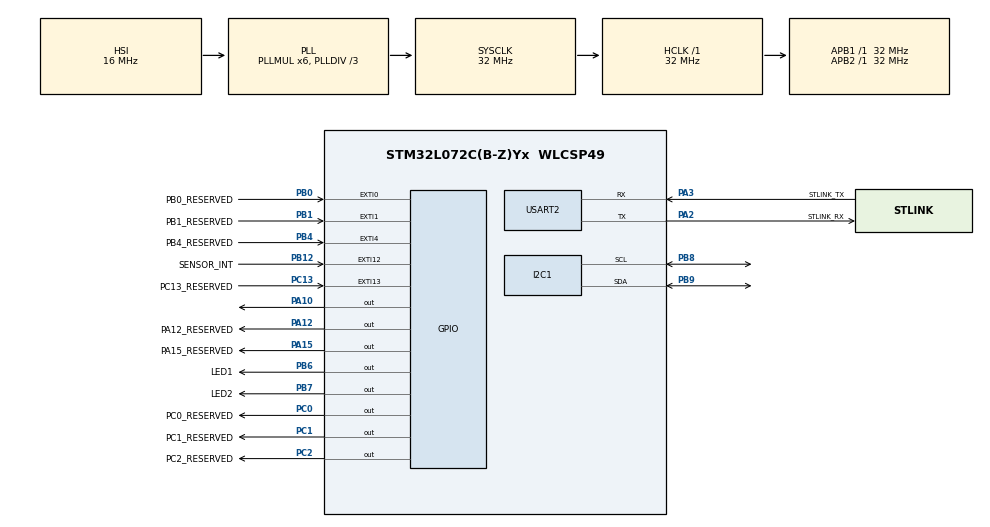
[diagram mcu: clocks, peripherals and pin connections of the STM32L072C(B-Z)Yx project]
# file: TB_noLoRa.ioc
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I2C1.Timing=0x00707CBB
Mcu.Family=STM32L0
Mcu.Name=STM32L072C(B-Z)Yx
Mcu.Package=WLCSP49
NVIC.EXTI0_1_IRQn=true\:0\:0\:false\:false\:true\:true\:true\:true
NVIC.EXTI4_15_IRQn=true\:0\:0\:false\:false\:true\:true\:true\:true
NVIC.TIM6_DAC_IRQn=true\:0\:0\:false\:false\:true\:true\:true\:true
PA10.Signal=GPIO_Output
PA12.GPIO_Label=PA12_RESERVED
PA12.GPIO_Speed=GPIO_SPEED_FREQ_HIGH
PA12.Signal=GPIO_Output
PA15.GPIO_Label=PA15_RESERVED
PA15.GPIO_Speed=GPIO_SPEED_FREQ_HIGH
PA15.Signal=GPIO_Output
PA2.GPIO_Label=STLINK_RX
PA2.Mode=Asynchronous
PA2.Signal=USART2_TX
PA3.GPIO_Label=STLINK_TX
PA3.Mode=Asynchronous
PA3.Signal=USART2_RX
PA6.GPIO_Label=PA6_RESERVED
PA6.Signal=SPI1_MISO
PA7.GPIO_Label=PA7_RESERVED
PA7.Signal=SPI1_MOSI
PB0.GPIO_Label=PB0_RESERVED
PB0.Signal=GPXTI0
PB1.GPIO_Label=PB1_RESERVED
PB1.Signal=GPXTI1
PB12.GPIO_Label=SENSOR_INT
PB12.Signal=GPXTI12
PB3.GPIO_Label=PB3_RESERVED
PB3.Signal=SPI1_SCK
PB4.GPIO_Label=PB4_RESERVED
PB4.Signal=GPXTI4
PB6.GPIO_Label=LED1
PB6.Signal=GPIO_Output
PB7.GPIO_Label=LED2
PB7.Signal=GPIO_Output
PB8.GPIO_Pu=GPIO_PULLUP
PB8.Mode=I2C
PB8.Signal=I2C1_SCL
PB9.GPIO_Pu=GPIO_PULLUP
PB9.Mode=I2C
PB9.Signal=I2C1_SDA
PC0.GPIO_Label=PC0_RESERVED
PC0.GPIO_Speed=GPIO_SPEED_FREQ_HIGH
PC0.Signal=GPIO_Output
PC1.GPIO_Label=PC1_RESERVED
PC1.GPIO_Speed=GPIO_SPEED_FREQ_HIGH
PC1.Signal=GPIO_Output
PC13.GPIO_Label=PC13_RESERVED
PC13.Signal=GPXTI13
PC2.GPIO_Label=PC2_RESERVED
PC2.GPIO_Speed=GPIO_SPEED_FREQ_HIGH
PC2.Signal=GPIO_Output
PH0-OSC_IN.Signal=RCC_OSC_IN
PH1-OSC_OUT.Signal=RCC_OSC_OUT
ProjectManager.HeapSize=0x200
ProjectManager.StackSize=0x400
ProjectManager.TargetToolchain=STM32CubeIDE
RCC.AHBFreq_Value=32000000
RCC.APB1Freq_Value=32000000
RCC.APB1TimFreq_Value=32000000
RCC.APB2Freq_Value=32000000
RCC.APB2TimFreq_Value=32000000
RCC.HCLKFreq_Value=32000000
RCC.HSE_VALUE=8000000
RCC.HSI16_VALUE=16000000
RCC.HSI48_VALUE=48000000
RCC.HSI_VALUE=16000000
RCC.LSE_VALUE=32768
RCC.MSI_VALUE=2097000
RCC.PLLDIV=RCC_PLLDIV_3
RCC.PLLMUL=RCC_PLLMUL_6
RCC.SYSCLKFreq_VALUE=32000000
RCC.SYSCLKSource=RCC_SYSCLKSOURCE_PLLCLK
RCC.VCOOutputFreq_Value=96000000
TIM6.Period=1000
TIM6.Prescaler=32000
USART2.VirtualMode-Asynchronous=VM_ASYNC
VP_TIM6_VS_ClockSourceINT.Mode=Enable_Timer
board=B-L072Z-LRWAN1

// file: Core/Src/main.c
/* USER CODE BEGIN Header */
/**
  ******************************************************************************
  * @file           : main.c
  * @brief          : Main program body
  ******************************************************************************
  * @attention
  *
  * Copyright (c) 2023 STMicroelectronics.
  * All rights reserved.
  *
  * This software is licensed under terms that can be found in the LICENSE file
  * in the root directory of this software component.
  * If no LICENSE file comes with this software, it is provided AS-IS.
  *
  ******************************************************************************
  */
/* USER CODE END Header */
#include "main.h"

/* USER CODE BEGIN Includes */
#include <stdio.h>
#include <math.h>
#include "bma400func.h"
/* USER CODE END Includes */

I2C_HandleTypeDef hi2c1;

TIM_HandleTypeDef htim6;

UART_HandleTypeDef huart2;

/* USER CODE BEGIN PV */
uint16_t secondsOn;
uint8_t waterOn;
/* USER CODE END PV */

void SystemClock_Config(void);
static void MX_GPIO_Init(void);
static void MX_USART2_UART_Init(void);
static void MX_I2C1_Init(void);
static void MX_TIM6_Init(void);

int main(void)
{
  /* USER CODE BEGIN 1 */
	HAL_StatusTypeDef hStat;
	HAL_TIM_StateTypeDef tim6Status;

	uint8_t serialBuf[SER_BUF_SIZE] = {'\0'};
	uint8_t i2cBuf[8]={0};
	uint8_t i2cBufRet[FIFO_SIZE]={0};
	int16_t rawVal[3]={0};
	int16_t myVal[F_SAMP] = {0};
	int16_t fifoBytes = 0;
	int16_t nbrOverSize = 0;
	uint16_t timer_val = 0;

	secondsOn = 0;
	waterOn = 0;

	uint16_t currentMemPos = 0;

  /* USER CODE END 1 */

  /* MCU Configuration--------------------------------------------------------*/

  /* Reset of all peripherals, Initializes the Flash interface and the Systick. */
  HAL_Init();

  /* Configure the system clock */
  SystemClock_Config();

  /* Initialize all configured peripherals */
  MX_GPIO_Init();
  MX_USART2_UART_Init();
  MX_I2C1_Init();
  MX_TIM6_Init();
  /* USER CODE BEGIN 2 */

	sprintf(serialBuf, "Hello Boss   \r\n");
	HAL_UART_Transmit(&huart2, serialBuf, sizeof(serialBuf), HAL_MAX_DELAY);
	HAL_Delay(500);

    //Init sensor
    bma400_InitConfig();
    //HAL_TIM_Base_Start_IT(&htim6);
  /* USER CODE END 2 */

  /* Infinite loop */
  /* USER CODE BEGIN WHILE */
  while (1)
  {
  	  hStat = HAL_I2C_Mem_Read(&hi2c1, ACC_ADDR, REG_FIFO_LENGTH0, 1, i2cBufRet, 1, HAL_MAX_DELAY);
  	  if(hStat != HAL_OK){
  		  strcpy((char*)serialBuf, "Error Rx2    \r\n");
  		  HAL_UART_Transmit(&huart2, serialBuf, sizeof(serialBuf), HAL_MAX_DELAY);
  	  } else {
  		  fifoBytes = i2cBufRet[0];
  	  }
  	  hStat = HAL_I2C_Mem_Read(&hi2c1, ACC_ADDR, REG_FIFO_LENGTH1, 1, i2cBufRet, 1, HAL_MAX_DELAY);
  	  if(hStat != HAL_OK){
  		  strcpy((char*)serialBuf, "Error Rx     \r\n");
  		  HAL_UART_Transmit(&huart2, serialBuf, sizeof(serialBuf), HAL_MAX_DELAY);
  	  } else {
  		  fifoBytes = fifoBytes | i2cBufRet[0]<<8;
  	  }
	  hStat = HAL_I2C_Mem_Read(&hi2c1, ACC_ADDR, REG_FIFO_DATA, 1, i2cBufRet, fifoBytes, HAL_MAX_DELAY);
	  if(hStat != HAL_OK){
		  strcpy((char*)serialBuf, "Error Rx1    \r\n");
		  HAL_UART_Transmit(&huart2, serialBuf, sizeof(serialBuf), HAL_MAX_DELAY);
	  } else {
		  for(uint8_t i = 0; i<(fifoBytes/7); i++){
			  if(currentMemPos >= F_SAMP){
				  currentMemPos = 0;
				  nbrOverSize++;
			  }
			  for(uint8_t j = 0; j<3; j++){
				  rawVal[j] = i2cBufRet[1+i*7+j*2] | i2cBufRet[2+i*7+j*2]<<4;
				  if(i2cBufRet[2+i*7+j*2]>0x80){
					  rawVal[j] = rawVal[j] | 0xF<<12;
				  }
			  }
			  myVal[currentMemPos] = sqrt(pow(rawVal[0],2) + pow(rawVal[1],2) + pow(rawVal[2],2));
			  currentMemPos++;
		  }
		  uint8_t detection_count = 0;
		  tim6Status = HAL_TIM_Base_GetState(&htim6);
		  for(uint16_t i = 0; i < F_SAMP; i++){
			  if(myVal[i] < MIDDLE_VAL + THRESHOLD && myVal[i] > MIDDLE_VAL - THRESHOLD){
				  waterOn = 0;
				  HAL_TIM_Base_Stop_IT(&htim6);
				  timer_val = __HAL_TIM_GET_COUNTER(&htim6);
			  } else {
				  detection_count++;
				  if(detection_count >= MIN_COUNT){
					  waterOn = 1;
					  if(HAL_TIM_Base_GetState(&htim6) != HAL_TIM_STATE_BUSY){
						  HAL_TIM_Base_Start_IT(&htim6);
					  }
					  break;
				  }
			  }
		  }
	  }
	  if(waterOn == 0){
		  secondsOn = 0;
	  }

	  for(uint8_t i = 0; i<SER_BUF_SIZE; i++){
		  serialBuf[i] = 0;
	  }

	  if(currentMemPos == F_SAMP){
		  sprintf((char*)serialBuf, "%d,%d,%d%d\r\n", waterOn, myVal[F_SAMP - 1], secondsOn, currentMemPos+800*nbrOverSize);
	  } else {
		  sprintf((char*)serialBuf, "%d,%d,%d,%d\r\n", waterOn, myVal[currentMemPos], secondsOn, currentMemPos+800*nbrOverSize);
	  }
	  HAL_UART_Transmit(&huart2, serialBuf, sizeof(serialBuf), HAL_MAX_DELAY);

    /* USER CODE END WHILE */

  }
}

void SystemClock_Config(void)
{
  RCC_OscInitTypeDef RCC_OscInitStruct = {0};
  RCC_ClkInitTypeDef RCC_ClkInitStruct = {0};
  RCC_PeriphCLKInitTypeDef PeriphClkInit = {0};

  /** Configure the main internal regulator output voltage
  */
  __HAL_PWR_VOLTAGESCALING_CONFIG(PWR_REGULATOR_VOLTAGE_SCALE1);

  /** Initializes the RCC Oscillators according to the specified parameters
  * in the RCC_OscInitTypeDef structure.
  */
  RCC_OscInitStruct.OscillatorType = RCC_OSCILLATORTYPE_HSI;
  RCC_OscInitStruct.HSIState = RCC_HSI_ON;
  RCC_OscInitStruct.HSICalibrationValue = RCC_HSICALIBRATION_DEFAULT;
  RCC_OscInitStruct.PLL.PLLState = RCC_PLL_ON;
  RCC_OscInitStruct.PLL.PLLSource = RCC_PLLSOURCE_HSI;
  RCC_OscInitStruct.PLL.PLLMUL = RCC_PLLMUL_6;
  RCC_OscInitStruct.PLL.PLLDIV = RCC_PLLDIV_3;
  if (HAL_RCC_OscConfig(&RCC_OscInitStruct) != HAL_OK)
  {
    Error_Handler();
  }

  /** Initializes the CPU, AHB and APB buses clocks
  */
  RCC_ClkInitStruct.ClockType = RCC_CLOCKTYPE_HCLK|RCC_CLOCKTYPE_SYSCLK
                              |RCC_CLOCKTYPE_PCLK1|RCC_CLOCKTYPE_PCLK2;
  RCC_ClkInitStruct.SYSCLKSource = RCC_SYSCLKSOURCE_PLLCLK;
  RCC_ClkInitStruct.AHBCLKDivider = RCC_SYSCLK_DIV1;
  RCC_ClkInitStruct.APB1CLKDivider = RCC_HCLK_DIV1;
  RCC_ClkInitStruct.APB2CLKDivider = RCC_HCLK_DIV1;

  if (HAL_RCC_ClockConfig(&RCC_ClkInitStruct, FLASH_LATENCY_1) != HAL_OK)
  {
    Error_Handler();
  }
  PeriphClkInit.PeriphClockSelection = RCC_PERIPHCLK_USART2|RCC_PERIPHCLK_I2C1;
  PeriphClkInit.Usart2ClockSelection = RCC_USART2CLKSOURCE_PCLK1;
  PeriphClkInit.I2c1ClockSelection = RCC_I2C1CLKSOURCE_PCLK1;
  if (HAL_RCCEx_PeriphCLKConfig(&PeriphClkInit) != HAL_OK)
  {
    Error_Handler();
  }
}

static void MX_I2C1_Init(void)
{

  hi2c1.Instance = I2C1;
  hi2c1.Init.Timing = 0x00707CBB;
  hi2c1.Init.OwnAddress1 = 0;
  hi2c1.Init.AddressingMode = I2C_ADDRESSINGMODE_7BIT;
  hi2c1.Init.DualAddressMode = I2C_DUALADDRESS_DISABLE;
  hi2c1.Init.OwnAddress2 = 0;
  hi2c1.Init.OwnAddress2Masks = I2C_OA2_NOMASK;
  hi2c1.Init.GeneralCallMode = I2C_GENERALCALL_DISABLE;
  hi2c1.Init.NoStretchMode = I2C_NOSTRETCH_DISABLE;
  if (HAL_I2C_Init(&hi2c1) != HAL_OK)
  {
    Error_Handler();
  }

  /** Configure Analogue filter
  */
  if (HAL_I2CEx_ConfigAnalogFilter(&hi2c1, I2C_ANALOGFILTER_ENABLE) != HAL_OK)
  {
    Error_Handler();
  }

  /** Configure Digital filter
  */
  if (HAL_I2CEx_ConfigDigitalFilter(&hi2c1, 0) != HAL_OK)
  {
    Error_Handler();
  }

}

static void MX_TIM6_Init(void)
{

  TIM_MasterConfigTypeDef sMasterConfig = {0};

  htim6.Instance = TIM6;
  htim6.Init.Prescaler = 32000;
  htim6.Init.CounterMode = TIM_COUNTERMODE_UP;
  htim6.Init.Period = 1000;
  htim6.Init.AutoReloadPreload = TIM_AUTORELOAD_PRELOAD_DISABLE;
  if (HAL_TIM_Base_Init(&htim6) != HAL_OK)
  {
    Error_Handler();
  }
  sMasterConfig.MasterOutputTrigger = TIM_TRGO_RESET;
  sMasterConfig.MasterSlaveMode = TIM_MASTERSLAVEMODE_DISABLE;
  if (HAL_TIMEx_MasterConfigSynchronization(&htim6, &sMasterConfig) != HAL_OK)
  {
    Error_Handler();
  }

}

static void MX_USART2_UART_Init(void)
{

  huart2.Instance = USART2;
  huart2.Init.BaudRate = 115200;
  huart2.Init.WordLength = UART_WORDLENGTH_8B;
  huart2.Init.StopBits = UART_STOPBITS_1;
  huart2.Init.Parity = UART_PARITY_NONE;
  huart2.Init.Mode = UART_MODE_TX_RX;
  huart2.Init.HwFlowCtl = UART_HWCONTROL_NONE;
  huart2.Init.OverSampling = UART_OVERSAMPLING_16;
  huart2.Init.OneBitSampling = UART_ONE_BIT_SAMPLE_DISABLE;
  huart2.AdvancedInit.AdvFeatureInit = UART_ADVFEATURE_NO_INIT;
  if (HAL_UART_Init(&huart2) != HAL_OK)
  {
    Error_Handler();
  }

}

static void MX_GPIO_Init(void)
{
  GPIO_InitTypeDef GPIO_InitStruct = {0};

  /* GPIO Ports Clock Enable */
  __HAL_RCC_GPIOA_CLK_ENABLE();
  __HAL_RCC_GPIOB_CLK_ENABLE();
  __HAL_RCC_GPIOC_CLK_ENABLE();
  __HAL_RCC_GPIOH_CLK_ENABLE();

  /*Configure GPIO pin Output Level */
  HAL_GPIO_WritePin(GPIOA, PA15_RESERVED_Pin|PA12_RESERVED_Pin|GPIO_PIN_10, GPIO_PIN_RESET);

  /*Configure GPIO pin Output Level */
  HAL_GPIO_WritePin(GPIOB, LED1_Pin|LED2_Pin, GPIO_PIN_RESET);

  /*Configure GPIO pin Output Level */
  HAL_GPIO_WritePin(GPIOC, PC1_RESERVED_Pin|PC0_RESERVED_Pin|PC2_RESERVED_Pin, GPIO_PIN_RESET);

  /*Configure GPIO pins : PA15_RESERVED_Pin PA12_RESERVED_Pin */
  GPIO_InitStruct.Pin = PA15_RESERVED_Pin|PA12_RESERVED_Pin;
  GPIO_InitStruct.Mode = GPIO_MODE_OUTPUT_PP;
  GPIO_InitStruct.Pull = GPIO_NOPULL;
  GPIO_InitStruct.Speed = GPIO_SPEED_FREQ_HIGH;
  HAL_GPIO_Init(GPIOA, &GPIO_InitStruct);

  /*Configure GPIO pin : PB3_RESERVED_Pin */
  GPIO_InitStruct.Pin = PB3_RESERVED_Pin;
  GPIO_InitStruct.Mode = GPIO_MODE_AF_PP;
  GPIO_InitStruct.Pull = GPIO_NOPULL;
  GPIO_InitStruct.Speed = GPIO_SPEED_FREQ_VERY_HIGH;
  GPIO_InitStruct.Alternate = GPIO_AF0_SPI1;
  HAL_GPIO_Init(PB3_RESERVED_GPIO_Port, &GPIO_InitStruct);

  /*Configure GPIO pins : PB4_RESERVED_Pin PB1_RESERVED_Pin SENSOR_INT_Pin PB0_RESERVED_Pin */
  GPIO_InitStruct.Pin = PB4_RESERVED_Pin|PB1_RESERVED_Pin|SENSOR_INT_Pin|PB0_RESERVED_Pin;
  GPIO_InitStruct.Mode = GPIO_MODE_IT_RISING;
  GPIO_InitStruct.Pull = GPIO_NOPULL;
  HAL_GPIO_Init(GPIOB, &GPIO_InitStruct);

  /*Configure GPIO pins : LED1_Pin LED2_Pin */
  GPIO_InitStruct.Pin = LED1_Pin|LED2_Pin;
  GPIO_InitStruct.Mode = GPIO_MODE_OUTPUT_PP;
  GPIO_InitStruct.Pull = GPIO_NOPULL;
  GPIO_InitStruct.Speed = GPIO_SPEED_FREQ_LOW;
  HAL_GPIO_Init(GPIOB, &GPIO_InitStruct);

  /*Configure GPIO pin : PC13_RESERVED_Pin */
  GPIO_InitStruct.Pin = PC13_RESERVED_Pin;
  GPIO_InitStruct.Mode = GPIO_MODE_IT_RISING;
  GPIO_InitStruct.Pull = GPIO_NOPULL;
  HAL_GPIO_Init(PC13_RESERVED_GPIO_Port, &GPIO_InitStruct);

  /*Configure GPIO pin : PA10 */
  GPIO_InitStruct.Pin = GPIO_PIN_10;
  GPIO_InitStruct.Mode = GPIO_MODE_OUTPUT_PP;
  GPIO_InitStruct.Pull = GPIO_NOPULL;
  GPIO_InitStruct.Speed = GPIO_SPEED_FREQ_LOW;
  HAL_GPIO_Init(GPIOA, &GPIO_InitStruct);

  /*Configure GPIO pins : PC1_RESERVED_Pin PC0_RESERVED_Pin PC2_RESERVED_Pin */
  GPIO_InitStruct.Pin = PC1_RESERVED_Pin|PC0_RESERVED_Pin|PC2_RESERVED_Pin;
  GPIO_InitStruct.Mode = GPIO_MODE_OUTPUT_PP;
  GPIO_InitStruct.Pull = GPIO_NOPULL;
  GPIO_InitStruct.Speed = GPIO_SPEED_FREQ_HIGH;
  HAL_GPIO_Init(GPIOC, &GPIO_InitStruct);

  /*Configure GPIO pins : PA7_RESERVED_Pin PA6_RESERVED_Pin */
  GPIO_InitStruct.Pin = PA7_RESERVED_Pin|PA6_RESERVED_Pin;
  GPIO_InitStruct.Mode = GPIO_MODE_AF_PP;
  GPIO_InitStruct.Pull = GPIO_NOPULL;
  GPIO_InitStruct.Speed = GPIO_SPEED_FREQ_VERY_HIGH;
  GPIO_InitStruct.Alternate = GPIO_AF0_SPI1;
  HAL_GPIO_Init(GPIOA, &GPIO_InitStruct);

  /* EXTI interrupt init*/
  HAL_NVIC_SetPriority(EXTI0_1_IRQn, 0, 0);
  HAL_NVIC_EnableIRQ(EXTI0_1_IRQn);

  HAL_NVIC_SetPriority(EXTI4_15_IRQn, 0, 0);
  HAL_NVIC_EnableIRQ(EXTI4_15_IRQn);

}

void Error_Handler(void)
{
  __disable_irq();
  while (1)
  {
  }
}
